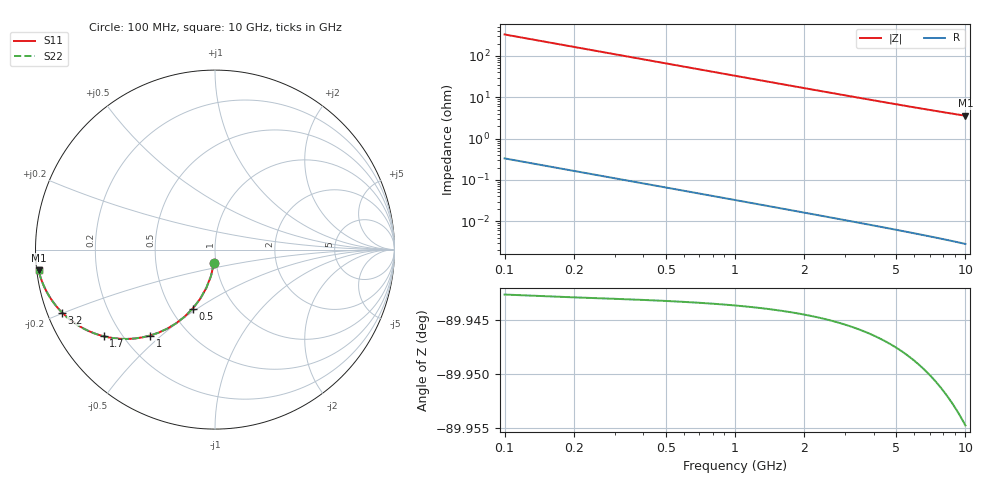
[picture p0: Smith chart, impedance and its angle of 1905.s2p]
# Hz S RI R 50.00
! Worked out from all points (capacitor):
!   100 points, 100 MHz to 10 GHz, reference 50 ohm
!   read as one part in shunt: C = 4.8 pF near 100 MHz
!   lowest |Z| = 3.58 ohm at 10 GHz (marker M1)
!   S11 on the Smith chart (normalised r, x): 100 MHz: 0.98, -0.15; 500 MHz: 0.64, -0.48; 1 GHz: 0.31, -0.46; 1.7 GHz: 0.13, -0.34; 3.2 GHz: 0.04, -0.20; 10 GHz: 0.01, -0.06
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1e8  -0.00569 -0.0748  0.9943 -0.075  0.9943 -0.075  -0.00569 -0.0748
2e8  -0.0223 -0.1471  0.9776 -0.1475  0.9776 -0.1475  -0.0223 -0.1471
3e8  -0.0488 -0.2146  0.9512 -0.2153  0.9512 -0.2153  -0.0488 -0.2146
4e8  -0.0834 -0.2756  0.9165 -0.2765  0.9165 -0.2765  -0.0834 -0.2756
5e8  -0.1244 -0.329  0.8755 -0.3302  0.8755 -0.3302  -0.1244 -0.329
6e8  -0.1698 -0.3743  0.8302 -0.3757  0.8302 -0.3757  -0.1698 -0.3743
7e8  -0.2176 -0.4114  0.7823 -0.413  0.7823 -0.413  -0.2176 -0.4114
8e8  -0.2664 -0.4407  0.7335 -0.4425  0.7335 -0.4425  -0.2664 -0.4407
1e9  -0.3618 -0.4789  0.6382 -0.4812  0.6382 -0.4812  -0.3618 -0.4789
1.3e9  -0.489 -0.4979  0.511 -0.5009  0.511 -0.5009  -0.489 -0.4979
1.7e9  -0.6203 -0.4828  0.3797 -0.4868  0.3797 -0.4868  -0.6203 -0.4828
1.8e9  -0.6467 -0.4754  0.3532 -0.4796  0.3532 -0.4796  -0.6467 -0.4754
2.1e9  -0.7134 -0.4492  0.2865 -0.4541  0.2865 -0.4541  -0.7134 -0.4492
2.4e9  -0.7646 -0.4209  0.2353 -0.4265  0.2353 -0.4265  -0.7646 -0.4209
2.8e9  -0.8154 -0.3842  0.1845 -0.3907  0.1845 -0.3907  -0.8154 -0.3842
3.2e9  -0.8521 -0.3506  0.1478 -0.3582  0.1478 -0.3582  -0.8521 -0.3506
3.4e9  -0.8667 -0.3353  0.1332 -0.3433  0.1332 -0.3433  -0.8667 -0.3353
4.2e9  -0.9084 -0.2829  0.0915 -0.2928  0.0915 -0.2928  -0.9084 -0.2829
5.1e9  -0.936 -0.238  0.0639 -0.2502  0.0639 -0.2502  -0.936 -0.238
6.7e9  -0.962 -0.1823  0.0378 -0.1985  0.0378 -0.1985  -0.962 -0.1823
8.4e9  -0.9756 -0.1429  0.0241 -0.1635  0.0241 -0.1635  -0.9756 -0.1429
1e10  -0.9828 -0.1163  0.0168 -0.1411  0.0168 -0.1411  -0.9828 -0.1163
